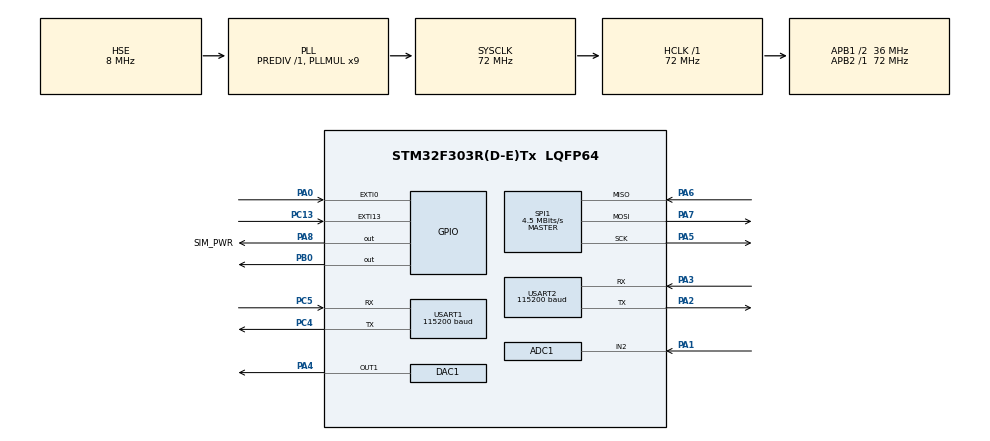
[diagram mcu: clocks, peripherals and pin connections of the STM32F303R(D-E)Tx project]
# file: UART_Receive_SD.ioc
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ADC1.Channel-0\#ChannelRegularConversion=ADC_CHANNEL_2
ADC1.ClockPrescaler=ADC_CLOCK_SYNC_PCLK_DIV4
ADC1.ContinuousConvMode=ENABLE
ADC1.NbrOfConversionFlag=1
ADC1.Offset-0\#ChannelRegularConversion=0
ADC1.OffsetNumber-0\#ChannelRegularConversion=ADC_OFFSET_NONE
ADC1.Rank-0\#ChannelRegularConversion=1
ADC1.SamplingTime-0\#ChannelRegularConversion=ADC_SAMPLETIME_601CYCLES_5
ADC1.master=1
DAC1.DAC_Trigger=DAC_TRIGGER_T6_TRGO
Dma.ADC1.1.Direction=DMA_PERIPH_TO_MEMORY
Dma.ADC1.1.Instance=DMA1_Channel1
Dma.ADC1.1.MemDataAlignment=DMA_MDATAALIGN_HALFWORD
Dma.ADC1.1.MemInc=DMA_MINC_ENABLE
Dma.ADC1.1.Mode=DMA_CIRCULAR
Dma.ADC1.1.PeriphDataAlignment=DMA_PDATAALIGN_HALFWORD
Dma.ADC1.1.PeriphInc=DMA_PINC_DISABLE
Dma.ADC1.1.Priority=DMA_PRIORITY_LOW
Dma.DAC1_CH1.0.Direction=DMA_MEMORY_TO_PERIPH
Dma.DAC1_CH1.0.Instance=DMA1_Channel3
Dma.DAC1_CH1.0.MemDataAlignment=DMA_MDATAALIGN_BYTE
Dma.DAC1_CH1.0.MemInc=DMA_MINC_ENABLE
Dma.DAC1_CH1.0.Mode=DMA_CIRCULAR
Dma.DAC1_CH1.0.PeriphDataAlignment=DMA_PDATAALIGN_BYTE
Dma.DAC1_CH1.0.PeriphInc=DMA_PINC_DISABLE
Dma.DAC1_CH1.0.Priority=DMA_PRIORITY_LOW
Dma.Request0=DAC1_CH1
Dma.Request1=ADC1
Dma.Request2=USART1_RX
Dma.USART1_RX.2.Direction=DMA_PERIPH_TO_MEMORY
Dma.USART1_RX.2.Instance=DMA1_Channel5
Dma.USART1_RX.2.MemDataAlignment=DMA_MDATAALIGN_BYTE
Dma.USART1_RX.2.MemInc=DMA_MINC_ENABLE
Dma.USART1_RX.2.Mode=DMA_NORMAL
Dma.USART1_RX.2.PeriphDataAlignment=DMA_PDATAALIGN_BYTE
Dma.USART1_RX.2.PeriphInc=DMA_PINC_DISABLE
Dma.USART1_RX.2.Priority=DMA_PRIORITY_LOW
FATFS._MAX_SS=4096
FATFS._USE_LFN=1
Mcu.Family=STM32F3
Mcu.Name=STM32F303R(D-E)Tx
Mcu.Package=LQFP64
NVIC.ADC1_2_IRQn=true\:0\:0\:false\:false\:true\:true\:true
NVIC.DMA1_Channel1_IRQn=true\:0\:0\:false\:false\:true\:false\:true
NVIC.DMA1_Channel3_IRQn=true\:0\:0\:false\:false\:true\:false\:true
NVIC.DMA1_Channel5_IRQn=true\:0\:0\:false\:false\:true\:false\:true
NVIC.EXTI0_IRQn=true\:0\:0\:false\:false\:true\:true\:true
NVIC.EXTI15_10_IRQn=true\:0\:0\:false\:false\:true\:true\:true
NVIC.PriorityGroup=NVIC_PRIORITYGROUP_4
NVIC.RTC_Alarm_IRQn=true\:0\:0\:false\:false\:true\:true\:true
NVIC.USART1_IRQn=true\:0\:0\:false\:false\:true\:true\:true
NVIC.USART2_IRQn=true\:0\:0\:false\:false\:true\:true\:true
PA0.GPIO_ModeDefaultEXTI=GPIO_MODE_IT_FALLING
PA0.GPIO_PuPd=GPIO_PULLUP
PA0.Signal=GPXTI0
PA1.Mode=IN2-Single-Ended
PA1.Signal=ADC1_IN2
PA13.Mode=Serial_Wire
PA13.Signal=SYS_JTMS-SWDIO
PA14.Mode=Serial_Wire
PA14.Signal=SYS_JTCK-SWCLK
PA2.Mode=Asynchronous
PA2.Signal=USART2_TX
PA3.Mode=Asynchronous
PA3.Signal=USART2_RX
PA4.Signal=COMP_DAC11_group
PA5.Mode=Full_Duplex_Master
PA5.Signal=SPI1_SCK
PA6.Mode=Full_Duplex_Master
PA6.Signal=SPI1_MISO
PA7.Mode=Full_Duplex_Master
PA7.Signal=SPI1_MOSI
PA8.GPIO_Label=SIM_PWR
PA8.Signal=GPIO_Output
PB0.Signal=GPIO_Output
PC13.GPIO_ModeDefaultEXTI=GPIO_MODE_IT_FALLING
PC13.Signal=GPXTI13
PC14-OSC32_IN.Mode=LSE-External-Oscillator
PC14-OSC32_IN.Signal=RCC_OSC32_IN
PC15-OSC32_OUT.Mode=LSE-External-Oscillator
PC15-OSC32_OUT.Signal=RCC_OSC32_OUT
PC4.Mode=Asynchronous
PC4.Signal=USART1_TX
PC5.Mode=Asynchronous
PC5.Signal=USART1_RX
PF0-OSC_IN.Mode=HSE-External-Oscillator
PF0-OSC_IN.Signal=RCC_OSC_IN
PF1-OSC_OUT.Mode=HSE-External-Oscillator
PF1-OSC_OUT.Signal=RCC_OSC_OUT
ProjectManager.HeapSize=0x200
ProjectManager.StackSize=0x400
ProjectManager.TargetToolchain=STM32CubeIDE
RCC.AHBFreq_Value=72000000
RCC.APB1CLKDivider=RCC_HCLK_DIV2
RCC.APB1Freq_Value=36000000
RCC.APB1TimFreq_Value=72000000
RCC.APB2Freq_Value=72000000
RCC.APB2TimFreq_Value=72000000
RCC.CortexFreq_Value=72000000
RCC.HCLKFreq_Value=72000000
RCC.HSE_VALUE=8000000
RCC.HSI_VALUE=8000000
RCC.PLLMUL=RCC_PLL_MUL9
RCC.PLLSourceVirtual=RCC_PLLSOURCE_HSE
RCC.RTCClockSelection=RCC_RTCCLKSOURCE_LSE
RCC.SYSCLKFreq_VALUE=72000000
RCC.SYSCLKSourceVirtual=RCC_SYSCLKSOURCE_PLLCLK
RCC.USBFreq_Value=72000000
RTC.Alarm-Alarm\ A=RTC_ALARM_A
RTC.Date=20
RTC.Hours=23
RTC.Minutes=59
RTC.Minutes_A-Alarm\ A=2
RTC.Month=RTC_MONTH_OCTOBER
RTC.Seconds_A-Alarm\ A=10
RTC.WeekDay=RTC_WEEKDAY_WEDNESDAY
RTC.Year=21
SH.COMP_DAC11_group.0=DAC1_OUT1,DAC_OUT1
SPI1.BaudRatePrescaler=SPI_BAUDRATEPRESCALER_16
SPI1.CalculateBaudRate=4.5 MBits/s
SPI1.DataSize=SPI_DATASIZE_8BIT
SPI1.Direction=SPI_DIRECTION_2LINES
SPI1.Mode=SPI_MODE_MASTER
SPI1.VirtualType=VM_MASTER
TIM6.Period=125-1
TIM6.Prescaler=36-1
TIM6.TIM_MasterOutputTrigger=TIM_TRGO_UPDATE
USART1.BaudRate=115200
USART1.VirtualMode-Asynchronous=VM_ASYNC
USART2.BaudRate=115200
USART2.VirtualMode-Asynchronous=VM_ASYNC
VP_FATFS_VS_Generic.Mode=User_defined
VP_RTC_VS_RTC_Activate.Mode=RTC_Enabled
VP_RTC_VS_RTC_Alarm_A_Intern.Mode=Alarm A
VP_RTC_VS_RTC_Calendar.Mode=RTC_Calendar
VP_TIM6_VS_ClockSourceINT.Mode=Enable_Timer
board=custom

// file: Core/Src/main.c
/* USER CODE BEGIN Header */
/**
 ******************************************************************************
 * @file           : main.c
 * @brief          : Main program body
 ******************************************************************************
 * @attention
 *
 * <h2><center>&copy; Copyright (c) 2021 STMicroelectronics.
 * All rights reserved.</center></h2>
 *
 * This software component is licensed by ST under BSD 3-Clause license,
 * the "License"; You may not use this file except in compliance with the
 * License. You may obtain a copy of the License at:
 *                        opensource.org/licenses/BSD-3-Clause
 *
 ******************************************************************************
 */
/* USER CODE END Header */
#include "main.h"
#include "fatfs.h"

/* USER CODE BEGIN Includes */
#include "wavplayer.h"
/* USER CODE END Includes */

/* USER CODE BEGIN PD */
#define ID_STATION 	3

/* USER CODE END PD */

ADC_HandleTypeDef hadc1;
DMA_HandleTypeDef hdma_adc1;

DAC_HandleTypeDef hdac1;
DMA_HandleTypeDef hdma_dac1_ch1;

RTC_HandleTypeDef hrtc;

SPI_HandleTypeDef hspi1;

TIM_HandleTypeDef htim6;

UART_HandleTypeDef huart1;
UART_HandleTypeDef huart2;
DMA_HandleTypeDef hdma_usart1_rx;

/* USER CODE BEGIN PV */

/*Cac bien cho choi nhac */
char name[30] = { 0 };
uint8_t playFlag = 0;
FILELIST_FileTypeDef fileList;
WAV_InfoTypeDef currentAudio;

/* Bien de doc file */
uint8_t readBuffer[1000] = { 0 };

/* bien thoi gian thuc */
RTC_DateTypeDef dateRTC;
RTC_TimeTypeDef timeRTC;

/* USER CODE END PV */

void SystemClock_Config(void);
static void MX_GPIO_Init(void);
static void MX_DMA_Init(void);
static void MX_SPI1_Init(void);
static void MX_DAC1_Init(void);
static void MX_TIM6_Init(void);
static void MX_ADC1_Init(void);
static void MX_RTC_Init(void);
static void MX_USART2_UART_Init(void);
static void MX_USART1_UART_Init(void);
/* USER CODE BEGIN PFP */

void HAL_GPIO_EXTI_Callback(uint16_t GPIO_Pin) {
	if (GPIO_Pin == GPIO_PIN_13) {
		playFlag = 1;
//		if(playFlag == 1)
//			WAV_Pause(&currentAudio);
//		if(playFlag == 2)
//			WAV_Resume(&currentAudio);
//		if(playFlag == 3)
//			WAV_Stop(&currentAudio);
//		if(playFlag == 4)
//			playFlag = 0;
		for (int i = 0; i < 50000; i++)
			;
		while (HAL_GPIO_ReadPin(GPIOC, GPIO_PIN_13) == 0)
			;
		for (int i = 0; i < 50000; i++)
			;
		EXTI->PR = GPIO_Pin;
	}
}

/* USER CODE END PFP */

int main(void) {

	/* MCU Configuration--------------------------------------------------------*/

	/* Reset of all peripherals, Initializes the Flash interface and the Systick. */
	HAL_Init();

	/* Configure the system clock */
	SystemClock_Config();

	/* USER CODE BEGIN SysInit */
	HAL_Delay(5000);
	/* USER CODE END SysInit */

	/* Initialize all configured peripherals */
	MX_GPIO_Init();
	MX_DMA_Init();
	MX_SPI1_Init();
	MX_FATFS_Init();
	MX_DAC1_Init();
	MX_TIM6_Init();
	MX_ADC1_Init();
	MX_RTC_Init();
	MX_USART2_UART_Init();
	MX_USART1_UART_Init();
	/* USER CODE BEGIN 2 */
	/* Khoi tao */
	SD_Mount("/");				//Mount the nho
//	SD_CreateDir("/WAV");
//	SD_CreateDir("/LOG");

	WAV_Init(&currentAudio);	//Khoi tao Audio WAV

	SD_ReadFile(name, readBuffer, 0, 44);

	/* USER CODE END 2 */

	/* Infinite loop */
	while (1) {

		/* USER CODE BEGIN 3 */
		if (playFlag == 1) {
			WAV_Play(name, &currentAudio);
			playFlag = 0;
		}
	}
	/* USER CODE END 3 */
}

void SystemClock_Config(void) {
	RCC_OscInitTypeDef RCC_OscInitStruct = { 0 };
	RCC_ClkInitTypeDef RCC_ClkInitStruct = { 0 };
	RCC_PeriphCLKInitTypeDef PeriphClkInit = { 0 };

	/** Configure LSE Drive Capability
	 */
	HAL_PWR_EnableBkUpAccess();
	__HAL_RCC_LSEDRIVE_CONFIG(RCC_LSEDRIVE_LOW);
	/** Initializes the RCC Oscillators according to the specified parameters
	 * in the RCC_OscInitTypeDef structure.
	 */
	RCC_OscInitStruct.OscillatorType = RCC_OSCILLATORTYPE_HSE
			| RCC_OSCILLATORTYPE_LSE;
	RCC_OscInitStruct.HSEState = RCC_HSE_ON;
	RCC_OscInitStruct.LSEState = RCC_LSE_ON;
	RCC_OscInitStruct.HSIState = RCC_HSI_ON;
	RCC_OscInitStruct.PLL.PLLState = RCC_PLL_ON;
	RCC_OscInitStruct.PLL.PLLSource = RCC_PLLSOURCE_HSE;
	RCC_OscInitStruct.PLL.PLLMUL = RCC_PLL_MUL9;
	RCC_OscInitStruct.PLL.PREDIV = RCC_PREDIV_DIV1;
	if (HAL_RCC_OscConfig(&RCC_OscInitStruct) != HAL_OK) {
		Error_Handler();
	}
	/** Initializes the CPU, AHB and APB buses clocks
	 */
	RCC_ClkInitStruct.ClockType = RCC_CLOCKTYPE_HCLK | RCC_CLOCKTYPE_SYSCLK
			| RCC_CLOCKTYPE_PCLK1 | RCC_CLOCKTYPE_PCLK2;
	RCC_ClkInitStruct.SYSCLKSource = RCC_SYSCLKSOURCE_PLLCLK;
	RCC_ClkInitStruct.AHBCLKDivider = RCC_SYSCLK_DIV1;
	RCC_ClkInitStruct.APB1CLKDivider = RCC_HCLK_DIV2;
	RCC_ClkInitStruct.APB2CLKDivider = RCC_HCLK_DIV1;

	if (HAL_RCC_ClockConfig(&RCC_ClkInitStruct, FLASH_LATENCY_2) != HAL_OK) {
		Error_Handler();
	}
	PeriphClkInit.PeriphClockSelection = RCC_PERIPHCLK_USART1
			| RCC_PERIPHCLK_USART2 | RCC_PERIPHCLK_RTC;
	PeriphClkInit.Usart1ClockSelection = RCC_USART1CLKSOURCE_PCLK2;
	PeriphClkInit.Usart2ClockSelection = RCC_USART2CLKSOURCE_PCLK1;
	PeriphClkInit.RTCClockSelection = RCC_RTCCLKSOURCE_LSE;
	if (HAL_RCCEx_PeriphCLKConfig(&PeriphClkInit) != HAL_OK) {
		Error_Handler();
	}
}

static void MX_ADC1_Init(void) {

	ADC_MultiModeTypeDef multimode = { 0 };
	ADC_ChannelConfTypeDef sConfig = { 0 };

	/** Common config
	 */
	hadc1.Instance = ADC1;
	hadc1.Init.ClockPrescaler = ADC_CLOCK_SYNC_PCLK_DIV4;
	hadc1.Init.Resolution = ADC_RESOLUTION_12B;
	hadc1.Init.ScanConvMode = ADC_SCAN_DISABLE;
	hadc1.Init.ContinuousConvMode = ENABLE;
	hadc1.Init.DiscontinuousConvMode = DISABLE;
	hadc1.Init.ExternalTrigConvEdge = ADC_EXTERNALTRIGCONVEDGE_NONE;
	hadc1.Init.ExternalTrigConv = ADC_SOFTWARE_START;
	hadc1.Init.DataAlign = ADC_DATAALIGN_RIGHT;
	hadc1.Init.NbrOfConversion = 1;
	hadc1.Init.DMAContinuousRequests = DISABLE;
	hadc1.Init.EOCSelection = ADC_EOC_SINGLE_CONV;
	hadc1.Init.LowPowerAutoWait = DISABLE;
	hadc1.Init.Overrun = ADC_OVR_DATA_OVERWRITTEN;
	if (HAL_ADC_Init(&hadc1) != HAL_OK) {
		Error_Handler();
	}
	/** Configure the ADC multi-mode
	 */
	multimode.Mode = ADC_MODE_INDEPENDENT;
	if (HAL_ADCEx_MultiModeConfigChannel(&hadc1, &multimode) != HAL_OK) {
		Error_Handler();
	}
	/** Configure Regular Channel
	 */
	sConfig.Channel = ADC_CHANNEL_2;
	sConfig.Rank = ADC_REGULAR_RANK_1;
	sConfig.SingleDiff = ADC_SINGLE_ENDED;
	sConfig.SamplingTime = ADC_SAMPLETIME_601CYCLES_5;
	sConfig.OffsetNumber = ADC_OFFSET_NONE;
	sConfig.Offset = 0;
	if (HAL_ADC_ConfigChannel(&hadc1, &sConfig) != HAL_OK) {
		Error_Handler();
	}

}

static void MX_DAC1_Init(void) {

	DAC_ChannelConfTypeDef sConfig = { 0 };

	/** DAC Initialization
	 */
	hdac1.Instance = DAC1;
	if (HAL_DAC_Init(&hdac1) != HAL_OK) {
		Error_Handler();
	}
	/** DAC channel OUT1 config
	 */
	sConfig.DAC_Trigger = DAC_TRIGGER_T6_TRGO;
	sConfig.DAC_OutputBuffer = DAC_OUTPUTBUFFER_ENABLE;
	if (HAL_DAC_ConfigChannel(&hdac1, &sConfig, DAC_CHANNEL_1) != HAL_OK) {
		Error_Handler();
	}

}

static void MX_RTC_Init(void) {

	RTC_TimeTypeDef sTime = { 0 };
	RTC_DateTypeDef sDate = { 0 };
	RTC_AlarmTypeDef sAlarm = { 0 };

	/** Initialize RTC Only
	 */
	hrtc.Instance = RTC;
	hrtc.Init.HourFormat = RTC_HOURFORMAT_24;
	hrtc.Init.AsynchPrediv = 127;
	hrtc.Init.SynchPrediv = 255;
	hrtc.Init.OutPut = RTC_OUTPUT_DISABLE;
	hrtc.Init.OutPutPolarity = RTC_OUTPUT_POLARITY_HIGH;
	hrtc.Init.OutPutType = RTC_OUTPUT_TYPE_OPENDRAIN;
	if (HAL_RTC_Init(&hrtc) != HAL_OK) {
		Error_Handler();
	}

	/** Initialize RTC and set the Time and Date
	 */
	sTime.Hours = 0x23;
	sTime.Minutes = 0x59;
	sTime.Seconds = 0x0;
	sTime.DayLightSaving = RTC_DAYLIGHTSAVING_NONE;
	sTime.StoreOperation = RTC_STOREOPERATION_RESET;
	if (HAL_RTC_SetTime(&hrtc, &sTime, RTC_FORMAT_BCD) != HAL_OK) {
		Error_Handler();
	}
	sDate.WeekDay = RTC_WEEKDAY_WEDNESDAY;
	sDate.Month = RTC_MONTH_OCTOBER;
	sDate.Date = 0x20;
	sDate.Year = 0x21;

	if (HAL_RTC_SetDate(&hrtc, &sDate, RTC_FORMAT_BCD) != HAL_OK) {
		Error_Handler();
	}
	/** Enable the Alarm A
	 */
	sAlarm.AlarmTime.Hours = 0x0;
	sAlarm.AlarmTime.Minutes = 0x2;
	sAlarm.AlarmTime.Seconds = 0x10;
	sAlarm.AlarmTime.SubSeconds = 0x0;
	sAlarm.AlarmTime.DayLightSaving = RTC_DAYLIGHTSAVING_NONE;
	sAlarm.AlarmTime.StoreOperation = RTC_STOREOPERATION_RESET;
	sAlarm.AlarmMask = RTC_ALARMMASK_NONE;
	sAlarm.AlarmSubSecondMask = RTC_ALARMSUBSECONDMASK_ALL;
	sAlarm.AlarmDateWeekDaySel = RTC_ALARMDATEWEEKDAYSEL_DATE;
	sAlarm.AlarmDateWeekDay = 0x1;
	sAlarm.Alarm = RTC_ALARM_A;
	if (HAL_RTC_SetAlarm_IT(&hrtc, &sAlarm, RTC_FORMAT_BCD) != HAL_OK) {
		Error_Handler();
	}

}

static void MX_SPI1_Init(void) {

	/* SPI1 parameter configuration*/
	hspi1.Instance = SPI1;
	hspi1.Init.Mode = SPI_MODE_MASTER;
	hspi1.Init.Direction = SPI_DIRECTION_2LINES;
	hspi1.Init.DataSize = SPI_DATASIZE_8BIT;
	hspi1.Init.CLKPolarity = SPI_POLARITY_LOW;
	hspi1.Init.CLKPhase = SPI_PHASE_1EDGE;
	hspi1.Init.NSS = SPI_NSS_SOFT;
	hspi1.Init.BaudRatePrescaler = SPI_BAUDRATEPRESCALER_16;
	hspi1.Init.FirstBit = SPI_FIRSTBIT_MSB;
	hspi1.Init.TIMode = SPI_TIMODE_DISABLE;
	hspi1.Init.CRCCalculation = SPI_CRCCALCULATION_DISABLE;
	hspi1.Init.CRCPolynomial = 7;
	hspi1.Init.CRCLength = SPI_CRC_LENGTH_DATASIZE;
	hspi1.Init.NSSPMode = SPI_NSS_PULSE_ENABLE;
	if (HAL_SPI_Init(&hspi1) != HAL_OK) {
		Error_Handler();
	}

}

static void MX_TIM6_Init(void) {

	TIM_MasterConfigTypeDef sMasterConfig = { 0 };

	htim6.Instance = TIM6;
	htim6.Init.Prescaler = 36 - 1;
	htim6.Init.CounterMode = TIM_COUNTERMODE_UP;
	htim6.Init.Period = 125 - 1;
	htim6.Init.AutoReloadPreload = TIM_AUTORELOAD_PRELOAD_DISABLE;
	if (HAL_TIM_Base_Init(&htim6) != HAL_OK) {
		Error_Handler();
	}
	sMasterConfig.MasterOutputTrigger = TIM_TRGO_UPDATE;
	sMasterConfig.MasterSlaveMode = TIM_MASTERSLAVEMODE_DISABLE;
	if (HAL_TIMEx_MasterConfigSynchronization(&htim6, &sMasterConfig)
			!= HAL_OK) {
		Error_Handler();
	}

}

static void MX_USART1_UART_Init(void) {

	huart1.Instance = USART1;
	huart1.Init.BaudRate = 115200;
	huart1.Init.WordLength = UART_WORDLENGTH_8B;
	huart1.Init.StopBits = UART_STOPBITS_1;
	huart1.Init.Parity = UART_PARITY_NONE;
	huart1.Init.Mode = UART_MODE_TX_RX;
	huart1.Init.HwFlowCtl = UART_HWCONTROL_NONE;
	huart1.Init.OverSampling = UART_OVERSAMPLING_16;
	huart1.Init.OneBitSampling = UART_ONE_BIT_SAMPLE_DISABLE;
	huart1.AdvancedInit.AdvFeatureInit = UART_ADVFEATURE_NO_INIT;
	if (HAL_UART_Init(&huart1) != HAL_OK) {
		Error_Handler();
	}

}

static void MX_USART2_UART_Init(void) {

	huart2.Instance = USART2;
	huart2.Init.BaudRate = 115200;
	huart2.Init.WordLength = UART_WORDLENGTH_8B;
	huart2.Init.StopBits = UART_STOPBITS_1;
	huart2.Init.Parity = UART_PARITY_NONE;
	huart2.Init.Mode = UART_MODE_TX_RX;
	huart2.Init.HwFlowCtl = UART_HWCONTROL_NONE;
	huart2.Init.OverSampling = UART_OVERSAMPLING_16;
	huart2.Init.OneBitSampling = UART_ONE_BIT_SAMPLE_DISABLE;
	huart2.AdvancedInit.AdvFeatureInit = UART_ADVFEATURE_NO_INIT;
	if (HAL_UART_Init(&huart2) != HAL_OK) {
		Error_Handler();
	}

}

static void MX_DMA_Init(void) {

	/* DMA controller clock enable */
	__HAL_RCC_DMA1_CLK_ENABLE();

	/* DMA interrupt init */
	/* DMA1_Channel1_IRQn interrupt configuration */
	HAL_NVIC_SetPriority(DMA1_Channel1_IRQn, 0, 0);
	HAL_NVIC_EnableIRQ(DMA1_Channel1_IRQn);
	/* DMA1_Channel3_IRQn interrupt configuration */
	HAL_NVIC_SetPriority(DMA1_Channel3_IRQn, 0, 0);
	HAL_NVIC_EnableIRQ(DMA1_Channel3_IRQn);
	/* DMA1_Channel5_IRQn interrupt configuration */
	HAL_NVIC_SetPriority(DMA1_Channel5_IRQn, 0, 0);
	HAL_NVIC_EnableIRQ(DMA1_Channel5_IRQn);

}

static void MX_GPIO_Init(void) {
	GPIO_InitTypeDef GPIO_InitStruct = { 0 };

	/* GPIO Ports Clock Enable */
	__HAL_RCC_GPIOC_CLK_ENABLE();
	__HAL_RCC_GPIOF_CLK_ENABLE();
	__HAL_RCC_GPIOA_CLK_ENABLE();
	__HAL_RCC_GPIOB_CLK_ENABLE();

	/*Configure GPIO pin Output Level */
	HAL_GPIO_WritePin(GPIOB, GPIO_PIN_0, GPIO_PIN_RESET);

	/*Configure GPIO pin Output Level */
	HAL_GPIO_WritePin(SIM_PWR_GPIO_Port, SIM_PWR_Pin, GPIO_PIN_RESET);

	/*Configure GPIO pin : PC13 */
	GPIO_InitStruct.Pin = GPIO_PIN_13;
	GPIO_InitStruct.Mode = GPIO_MODE_IT_FALLING;
	GPIO_InitStruct.Pull = GPIO_NOPULL;
	HAL_GPIO_Init(GPIOC, &GPIO_InitStruct);

	/*Configure GPIO pin : PA0 */
	GPIO_InitStruct.Pin = GPIO_PIN_0;
	GPIO_InitStruct.Mode = GPIO_MODE_IT_FALLING;
	GPIO_InitStruct.Pull = GPIO_PULLUP;
	HAL_GPIO_Init(GPIOA, &GPIO_InitStruct);

	/*Configure GPIO pin : PB0 */
	GPIO_InitStruct.Pin = GPIO_PIN_0;
	GPIO_InitStruct.Mode = GPIO_MODE_OUTPUT_PP;
	GPIO_InitStruct.Pull = GPIO_NOPULL;
	GPIO_InitStruct.Speed = GPIO_SPEED_FREQ_LOW;
	HAL_GPIO_Init(GPIOB, &GPIO_InitStruct);

	/*Configure GPIO pin : SIM_PWR_Pin */
	GPIO_InitStruct.Pin = SIM_PWR_Pin;
	GPIO_InitStruct.Mode = GPIO_MODE_OUTPUT_PP;
	GPIO_InitStruct.Pull = GPIO_NOPULL;
	GPIO_InitStruct.Speed = GPIO_SPEED_FREQ_LOW;
	HAL_GPIO_Init(SIM_PWR_GPIO_Port, &GPIO_InitStruct);

	/* EXTI interrupt init*/
	HAL_NVIC_SetPriority(EXTI0_IRQn, 0, 0);
	HAL_NVIC_EnableIRQ(EXTI0_IRQn);

	HAL_NVIC_SetPriority(EXTI15_10_IRQn, 0, 0);
	HAL_NVIC_EnableIRQ(EXTI15_10_IRQn);

}

void Error_Handler(void) {
	__disable_irq();
	while (1) {
	}
}

/************************ (C) COPYRIGHT STMicroelectronics *****END OF FILE****/
